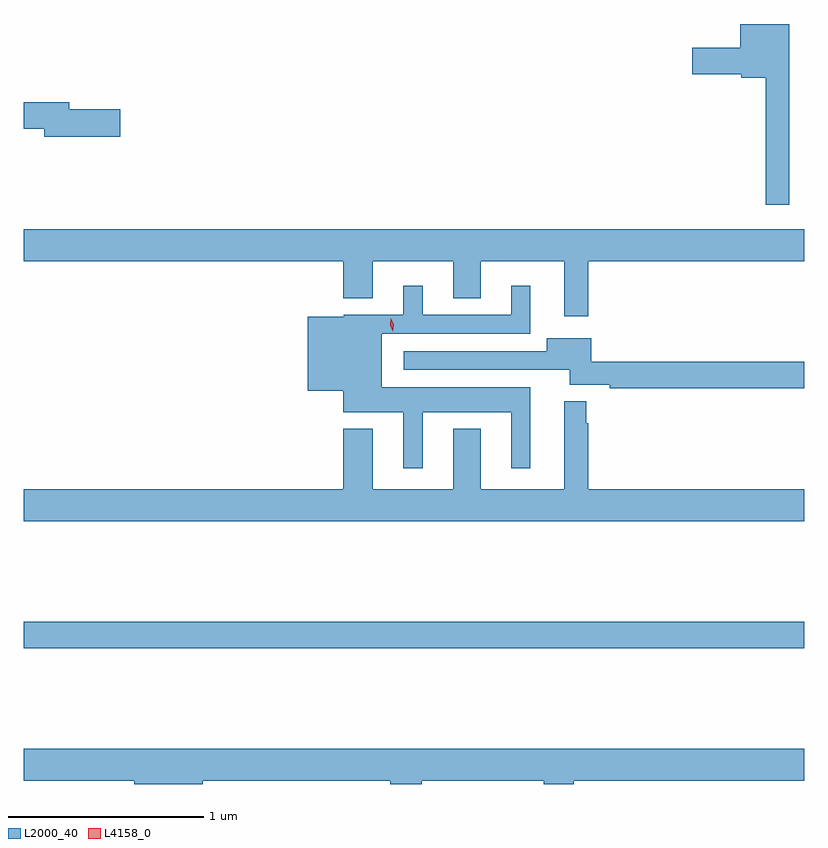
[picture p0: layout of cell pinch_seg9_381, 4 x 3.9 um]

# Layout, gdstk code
import gdstk
lib = gdstk.Library(unit=1e-6, precision=1e-09)
def R(c, l, rs):  # rectangles x0, y0, x1, y1
    for r in rs: c.add(gdstk.rectangle(r[:2], r[2:], *l))
def P(c, l, *ps):  # polygons
    for p in ps: c.add(gdstk.Polygon(p, *l))
L2000_40 = (2000, 40)
L4158_0 = (4158, 0)

pinch_seg9_381 = lib.new_cell('pinch_seg9_381')
R(pinch_seg9_381, L2000_40, [(360.822,1238.392,364.822,1238.528)])
P(pinch_seg9_381, L2000_40, [(364.747,1241.593),(364.496,1241.593),(364.496,1241.47),(364.248,1241.47),(364.248,1241.336),(364.5,1241.336),(364.5,1241.318),(364.626,1241.318),(364.626,1240.665),(364.747,1240.665)],
  [(361.315,1241.156),(361.054,1241.156),(361.054,1241.192),(360.822,1241.192),(360.822,1241.056),(360.926,1241.056),(360.926,1241.014),(361.315,1241.014)],
  [(363.715,1240.376),(364.822,1240.376),(364.822,1240.54),(360.822,1240.54),(360.822,1240.376),(362.459,1240.376),(362.459,1240.187),(362.611,1240.187),(362.611,1240.376),(363.023,1240.376),(363.023,1240.186),(363.163,1240.186),(363.163,1240.376),(363.593,1240.376),(363.593,1240.095),(363.715,1240.095)],
  [(362.866,1239.602),(363.32,1239.602),(363.32,1239.315),(363.418,1239.315),(363.418,1239.73),(362.656,1239.73),(362.656,1240.005),(363.418,1240.005),(363.418,1240.252),(363.32,1240.252),(363.32,1240.101),(362.866,1240.101),(362.866,1240.252),(362.768,1240.252),(362.768,1240.101),(362.463,1240.101),(362.463,1240.093),(362.276,1240.093),(362.276,1239.713),(362.459,1239.713),(362.459,1239.602),(362.768,1239.602),(362.768,1239.315),(362.866,1239.315)],
  [(364.822,1239.86),(363.73,1239.86),(363.73,1239.982),(363.503,1239.982),(363.503,1239.915),(362.769,1239.915),(362.769,1239.819),(363.62,1239.819),(363.62,1239.744),(363.826,1239.744),(363.826,1239.724),(364.822,1239.724)],
  [(364.822,1239.208),(363.715,1239.208),(363.715,1239.545),(363.704,1239.545),(363.704,1239.658),(363.593,1239.658),(363.593,1239.208),(363.163,1239.208),(363.163,1239.517),(363.023,1239.517),(363.023,1239.208),(362.611,1239.208),(362.611,1239.517),(362.459,1239.517),(362.459,1239.208),(360.822,1239.208),(360.822,1239.044),(364.822,1239.044)],
  [(361.738,1237.712),(362.699,1237.712),(362.699,1237.696),(362.863,1237.696),(362.863,1237.712),(363.488,1237.712),(363.488,1237.696),(363.641,1237.696),(363.641,1237.712),(364.822,1237.712),(364.822,1237.876),(360.822,1237.876),(360.822,1237.712),(361.388,1237.712),(361.388,1237.696),(361.738,1237.696)])
P(pinch_seg9_381, L4158_0, [(362.713,1240.017),(362.699,1240.049),(362.703,1240.085),(362.703,1240.085),(362.703,1240.085),(362.718,1240.052),(362.714,1240.017),(362.714,1240.017)])

lib.write_gds('pinch_seg9_381.gds')
